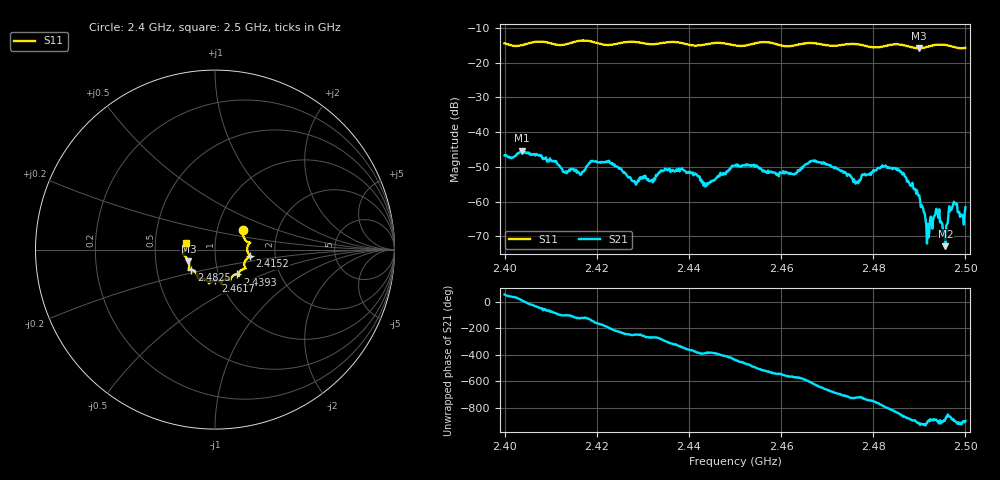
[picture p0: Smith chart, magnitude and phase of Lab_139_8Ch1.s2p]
# Hz S RI R 50
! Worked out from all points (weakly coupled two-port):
!   601 points, 2.4 GHz to 2.5 GHz, reference 50 ohm
!   highest |S21| = -45.32 dB at 2.4038 GHz (marker M1); lowest = -72.8 dB at 2.4957 GHz (marker M2)
!   lowest |S11| = -15.9 dB at 2.4898 GHz (marker M3), VSWR 1.38, Z = 36.9 - j4.89 ohm
!   |S11| at or under -10 dB: start of sweep to end of sweep
!   S12 and S22 are empty: the file has one direction only
!   S11 on the Smith chart (normalised r, x): 2.4 GHz: 1.33, +0.30; 2.4152 GHz: 1.48, -0.11; 2.4393 GHz: 1.23, -0.35; 2.4617 GHz: 0.94, -0.33; 2.4825 GHz: 0.75, -0.17; 2.5 GHz: 0.72, +0.05
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2.4e9  0.1553 0.1093  0.00282 0.00366  0 0  0 0
2.403833e9  0.172 0.0508  0.00538 0.000691  0 0  0 0
2.415167e9  0.1958 -0.0366  -0.00139 -0.00236  0 0  0 0
2.416667e9  0.2039 -0.042  -0.0013 -0.0021  0 0  0 0
2.419333e9  0.1938 -0.041  -0.00331 -0.00187  0 0  0 0
2.428333e9  0.1689 -0.1046  -0.00067 0.00177  0 0  0 0
2.433333e9  0.1327 -0.1331  0.000171 0.00253  0 0  0 0
2.439333e9  0.1237 -0.1382  0.00268 0.00017  0 0  0 0
2.443667e9  0.0878 -0.1612  0.00152 -0.000695  0 0  0 0
2.45e9  0.0667 -0.1642  0.000751 -0.00323  0 0  0 0
2.461667e9  0.00114 -0.1719  -0.00242 0.000959  0 0  0 0
2.466667e9  -0.0336 -0.189  -0.00123 0.00365  0 0  0 0
2.4765e9  -0.0946 -0.1583  0.00195 9.68e-07  0 0  0 0
2.4825e9  -0.1325 -0.1113  0.00105 -0.00307  0 0  0 0
2.483333e9  -0.1399 -0.1104  0.000367 -0.00311  0 0  0 0
2.486167e9  -0.1463 -0.1062  -0.00184 -0.00185  0 0  0 0
2.489833e9  -0.1477 -0.0646  -0.00119 0.000251  0 0  0 0
2.491667e9  -0.1637 -0.0397  -0.000242 6.01e-05  0 0  0 0
2.493833e9  -0.1802 -0.0244  -0.000728 -2.22e-05  0 0  0 0
2.495667e9  -0.1789 -0.0187  -0.000216 -7.42e-05  0 0  0 0
2.497333e9  -0.1691 -0.00615  -0.000863 -0.000289  0 0  0 0
2.5e9  -0.1597 0.0351  -0.00083 -4e-05  0 0  0 0
